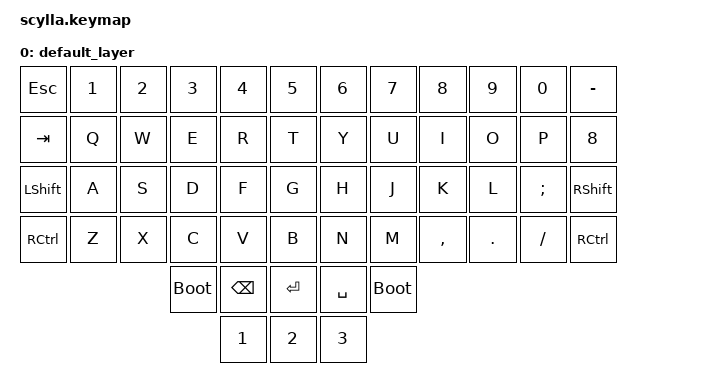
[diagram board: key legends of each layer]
/*
 * Copyright (c) 2024 burkfers
 *
 * SPDX-License-Identifier: MIT
 */

#include <behaviors.dtsi>
#include <dt-bindings/zmk/keys.h>

/ {
    keymap {
        compatible = "zmk,keymap";

        default_layer {
            bindings = <
// ╭─────────────┬─────────────┬─────────────┬─────────────┬─────────────┬─────────────╮   ╭─────────────┬─────────────┬─────────────┬─────────────┬─────────────┬─────────────╮
     &kp ESC       &kp N1        &kp N2        &kp N3        &kp N4        &kp N5            &kp N6        &kp N7        &kp N8        &kp N9        &kp N0        &kp MINUS
// ├─────────────┼─────────────┼─────────────┼─────────────┼─────────────┼─────────────┤   ├─────────────┼─────────────┼─────────────┼─────────────┼─────────────┼─────────────┤
     &kp TAB       &kp Q         &kp W         &kp E         &kp R         &kp T             &kp Y         &kp U         &kp I         &kp O         &kp P         &kp N8
// ├─────────────┼─────────────┼─────────────┼─────────────┼─────────────┼─────────────┤   ├─────────────┼─────────────┼─────────────┼─────────────┼─────────────┼─────────────┤
     &kp LSHIFT    &kp A         &kp S         &kp D         &kp F         &kp G             &kp H         &kp J         &kp K         &kp L         &kp SEMI      &kp RSHIFT
// ├─────────────┼─────────────┼─────────────┼─────────────┼─────────────┼─────────────┤   ├─────────────┼─────────────┼─────────────┼─────────────┼─────────────┼─────────────┤
     &kp RCTRL     &kp Z         &kp X         &kp C         &kp V         &kp B             &kp N         &kp M         &kp COMMA     &kp DOT       &kp SLASH     &kp RCTRL
// ╰─────────────┼─────────────┼─────────────┼─────────────┼─────────────┼─────────────┤   ├─────────────┼─────────────┼─────────────┼─────────────┼─────────────┼─────────────╯
                                               &bootloader   &kp BACKSPACE &kp RET           &kp SPACE     &bootloader
//                                           ╰─────────────┼─────────────┼─────────────┤   ├─────────────┼─────────────╯
                                                             &kp N1         &kp N2           &kp N3
//                                                         ╰─────────────┴─────────────╯   ╰─────────────╯
            >;
        };
    };
};
